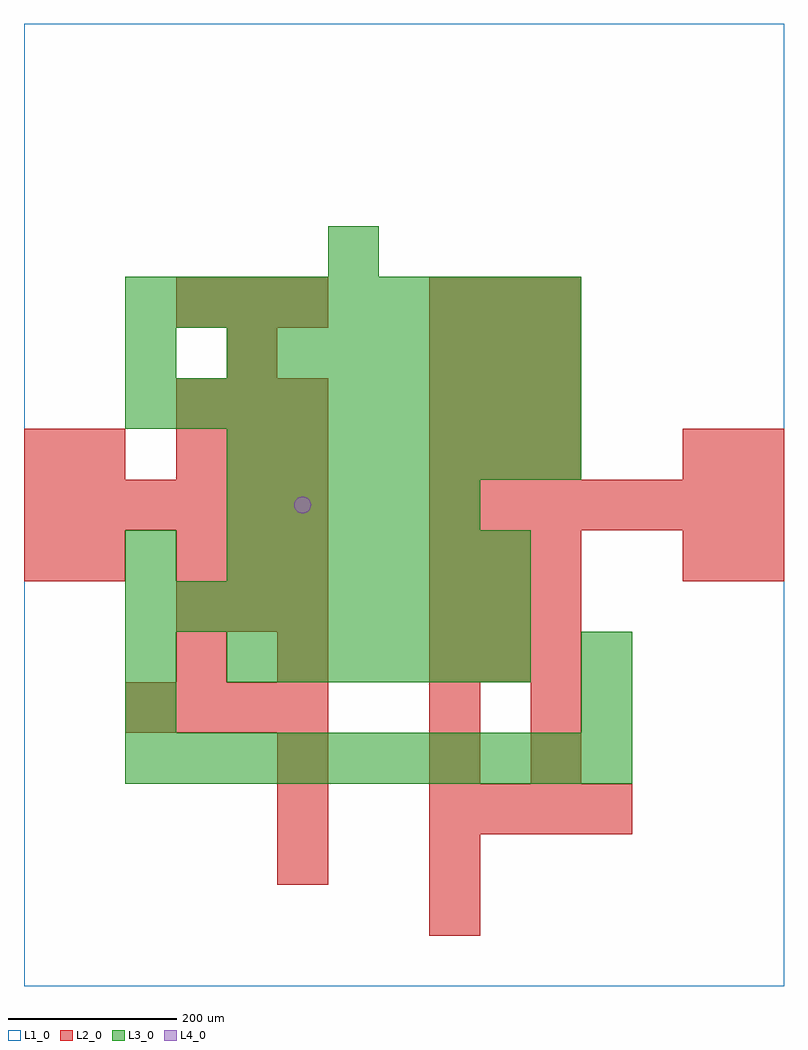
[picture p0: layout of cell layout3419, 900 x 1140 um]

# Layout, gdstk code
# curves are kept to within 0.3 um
import gdstk
lib = gdstk.Library(unit=1e-6, precision=1e-09)
def R(c, l, rs):  # rectangles x0, y0, x1, y1
    for r in rs: c.add(gdstk.rectangle(r[:2], r[2:], *l))
def A(c, l, x, y, w, h, nx, ny, dx, dy):  # array of equal rectangles
    R(c, l, [(x+i*dx, y+j*dy, x+i*dx+w, y+j*dy+h) for i in range(nx) for j in range(ny)])
def P(c, l, *ps):  # polygons
    for p in ps: c.add(gdstk.Polygon(p, *l))
L1_0 = (1, 0)
L2_0 = (2, 0)
L3_0 = (3, 0)
L4_0 = (4, 0)

layout3419 = lib.new_cell('layout3419')
R(layout3419, L1_0, [(0,0,900,1140)])
A(layout3419, L2_0, 300, 120, 60, 60, 1, 3, 0, 60)
A(layout3419, L2_0, 480, 180, 60, 60, 4, 1, 60, 0)
A(layout3419, L2_0, 120, 300, 60, 60, 4, 1, 60, 0)
A(layout3419, L2_0, 480, 360, 60, 60, 3, 3, 60, 60)
A(layout3419, L2_0, 180, 420, 60, 60, 3, 2, 60, 60)
A(layout3419, L2_0, 0, 540, 60, 60, 6, 1, 60, 0)
A(layout3419, L2_0, 480, 540, 60, 60, 7, 1, 60, 0)
A(layout3419, L2_0, 180, 600, 60, 60, 3, 2, 60, 60)
A(layout3419, L2_0, 480, 600, 60, 60, 3, 4, 60, 60)
A(layout3419, L2_0, 180, 780, 60, 60, 3, 1, 60, 0)
R(layout3419, L2_0, [(480,60,540,120), (480,120,540,180), (480,240,540,300), (600,240,660,300), (480,300,540,360), (600,300,660,360), (180,360,240,420), (300,360,360,420), (0,480,60,540), (60,480,120,540), (780,480,840,540), (840,480,900,540), (0,600,60,660), (60,600,120,660), (780,600,840,660), (840,600,900,660), (240,720,300,780)])
A(layout3419, L3_0, 120, 240, 60, 60, 10, 1, 60, 0)
A(layout3419, L3_0, 240, 360, 60, 60, 6, 2, 60, 120)
A(layout3419, L3_0, 120, 420, 60, 60, 8, 1, 60, 0)
A(layout3419, L3_0, 240, 540, 60, 60, 5, 1, 60, 0)
A(layout3419, L3_0, 240, 600, 60, 60, 7, 2, 60, 120)
A(layout3419, L3_0, 120, 660, 60, 60, 9, 2, 60, 120)
R(layout3419, L3_0, [(120,300,180,360), (660,300,720,360), (120,360,180,420), (660,360,720,420), (120,480,180,540), (120,720,180,780), (360,840,420,900)])
P(layout3419, L4_0, [(340,570),(339.239,573.827),(337.071,577.071),(333.827,579.239),(330,580),(326.173,579.239),(322.929,577.071),(320.761,573.827),(320,570),(320.761,566.173),(322.929,562.929),(326.173,560.761),(330,560),(333.827,560.761),(337.071,562.929),(339.239,566.173)])

lib.write_gds('layout3419.gds')
